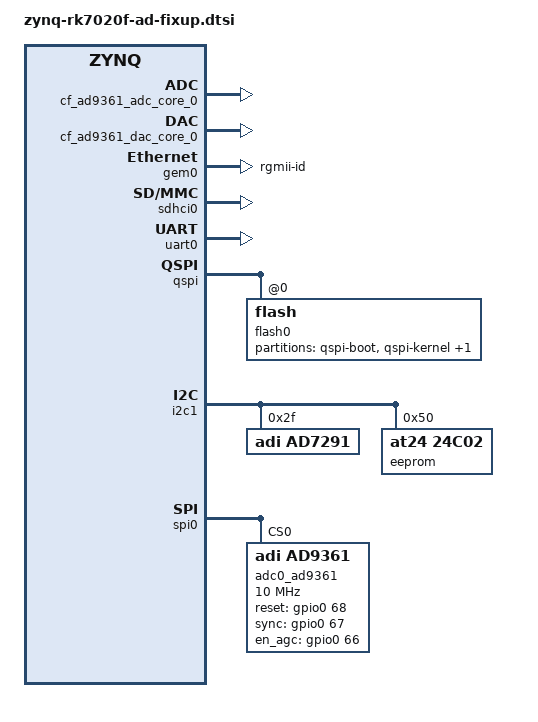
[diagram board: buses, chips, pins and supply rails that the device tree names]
/*
 * RK-ZYNQ7020-F carrier board + AD-FMCOMMS2/3 (AD9361) HDL project
 * hdl_project: <fmcomms2/rk_zynq7020f>
 *
 * Board-specific PS pinmux/EMIO overrides and the full AD9361/FMCOMMS2 PL
 * fabric + RF/AGC tuning. Kept as a hand-written fixup rather than derived
 * from the .xsa via zynq-dtgen: Xilinx's device-tree-xlnx generator only
 * emits placeholder nodes for custom IP (e.g. "xlnx,axi-ad9361-1.0") - the
 * actual adi,axi-ad9361-6.00.a bindings, DMA wiring, GPIO/EMIO routing and
 * the RF/AGC tuning parameters below have no representation in the
 * hardware export at all.
 *
 * Included by the zynq-dtgen-generated root dts
 * (BR2_PACKAGE_HOST_ZYNQ_DTGEN_FALLBACK_DIR/<name>-fixup.dtsi convention);
 * also mirrored verbatim inside the monolithic zynq-rk7020f-ad.dts, which
 * stays in place as the fallback used when xsct is unavailable.
 */
#include <dt-bindings/interrupt-controller/irq.h>
#include <dt-bindings/gpio/gpio.h>

/ {
	aliases {
		ethernet0 = &gem0;
		serial0 = &uart0;
	};

	clocks {
		ad9361_clkin: clock@0 {
			compatible = "fixed-clock";
			clock-frequency = <40000000>;
			clock-output-names = "ad9361_ext_refclk";
			#clock-cells = <0>;
		};
	};

	fpga_axi: fpga-axi@0 {
		compatible = "simple-bus";
		#address-cells = <1>;
		#size-cells = <1>;
		ranges;

		rx_dma: dma-controller@7c400000 {
			compatible = "adi,axi-dmac-1.00.a";
			reg = <0x7c400000 0x1000>;
			#dma-cells = <1>;
			interrupt-parent = <&intc>;
			interrupts = <0 57 IRQ_TYPE_LEVEL_HIGH>;
			clocks = <&clkc 15>;
		};

		tx_dma: dma-controller@7c420000 {
			compatible = "adi,axi-dmac-1.00.a";
			reg = <0x7c420000 0x1000>;
			#dma-cells = <1>;
			interrupt-parent = <&intc>;
			interrupts = <0 56 IRQ_TYPE_LEVEL_HIGH>;
			clocks = <&clkc 15>;
		};

		cf_ad9361_adc_core_0: cf-ad9361-lpc@79020000 {
			compatible = "adi,axi-ad9361-6.00.a";
			reg = <0x79020000 0x6000>;
			dmas = <&rx_dma 0>;
			dma-names = "rx";

			spibus-connected = <&adc0_ad9361>;
		};

		cf_ad9361_dac_core_0: cf-ad9361-dds-core-lpc@79024000 {
			compatible = "adi,axi-ad9361-dds-6.00.a";
			reg = <0x79024000 0x1000>;
			clocks = <&adc0_ad9361 13>;
			clock-names = "sampl_clk";
			dmas = <&tx_dma 0>;
			dma-names = "tx";
		};

		axi_sysid_0: sysid@45000000 {
			compatible = "adi,axi-sysid-1.00.a";
			reg = <0x45000000 0x10000>;
		};
	};
};

&gem0 {
	phy-mode = "rgmii-id";
	status = "okay";
	xlnx,ptp-enet-clock = <0x69f6bcb>;
};
&intc {
	num_cpus = <2>;
	num_interrupts = <96>;
};
&sdhci0 {
	bootph-all;
	status = "okay";
	xlnx,has-cd = <0x1>;
	xlnx,has-power = <0x0>;
	xlnx,has-wp = <0x0>;
};
&uart0 {
	bootph-all;
	cts-override ;
	device_type = "serial";
	port-number = <0>;
	status = "okay";
};
&clkc {
	/* FCLK0 (100MHz): AXI-Lite bus clock for axi_ad9361/dmac/sysid.
	 * FCLK1 (200MHz): IDELAYCTRL reference clock inside axi_ad9361. */
	fclk-enable = <0x3>;
	ps-clk-frequency = <33333333>;
};

&qspi {
	#address-cells = <1>;
	#size-cells = <0>;
	flash0: flash@0 {
		partition@0 {
			label = "qspi-boot";
			reg = <0x00000000 0x00500000>;
		};
		partition@1 {
			label = "qspi-kernel";
			reg = <0x00500000 0x00a80000>;
		};
		partition@2 {
			label = "qspi-bootenv";
			reg = <0x00f80000 0x00020000>;
		};
	};
};

/* AD9361 status/EEPROM I2C, routed via PS I2C1 through EMIO (iic_scl/iic_sda) */
&i2c1 {
	status = "okay";

	ad7291@2f {
		compatible = "adi,ad7291";
		reg = <0x2f>;
	};

	eeprom@50 {
		compatible = "at24,24c02";
		reg = <0x50>;
	};
};

/* AD9361 SPI, routed via PS SPI0 through EMIO (spi_clk/spi_csn/spi_mosi/spi_miso) */
&spi0 {
	status = "okay";
	is-decoded-cs = <0>;
	num-cs = <1>;

	adc0_ad9361: ad9361-phy@0 {
		compatible = "adi,ad9361";
		reg = <0>;

		spi-cpha;
		spi-max-frequency = <10000000>;

		clocks = <&ad9361_clkin 0>;
		clock-names = "ad9361_ext_refclk";
		clock-output-names = "rx_sampl_clk", "tx_sampl_clk";
		#clock-cells = <1>;

		/* gpio0 EMIO offset = 54 (MIO count); bits [14:12] are
		 * resetb/sync/en_agc, per system_top.v ad_iobuf ordering.
		 * enable/txnrx are driven directly by the axi_ad9361 core
		 * (system_top "enable"/"txnrx" ports), not through gpio0.
		 *
		 * reset-gpios MUST be GPIO_ACTIVE_HIGH despite the "RESETB"
		 * name: ad9361_reset() in the driver does set_value(0) then
		 * set_value(1) expecting that to map straight to physical
		 * low-then-high with no gpiolib inversion. ACTIVE_LOW here
		 * leaves the chip held in hardware reset after probe (SPI
		 * reads come back as 0xFF - confirmed on hardware). */
		reset-gpios = <&gpio0 68 GPIO_ACTIVE_HIGH>;
		sync-gpios = <&gpio0 67 GPIO_ACTIVE_HIGH>;
		en_agc-gpios = <&gpio0 66 GPIO_ACTIVE_HIGH>;

		adi,digital-interface-tune-skip-mode = <0>;
		adi,pp-tx-swap-enable;
		adi,pp-rx-swap-enable;
		adi,rx-frame-pulse-mode-enable;
		adi,lvds-mode-enable;
		adi,lvds-bias-mV = <150>;
		adi,lvds-rx-onchip-termination-enable;
		adi,rx-data-delay = <4>;
		adi,tx-fb-clock-delay = <7>;
		adi,dcxo-coarse-and-fine-tune = <8 5920>;

		adi,2rx-2tx-mode-enable;
		adi,frequency-division-duplex-mode-enable;

		adi,rx-rf-port-input-select = <0>;
		adi,tx-rf-port-input-select = <0>;
		adi,tx-attenuation-mdB = <10000>;
		adi,tx-lo-powerdown-managed-enable;

		adi,rf-rx-bandwidth-hz = <18000000>;
		adi,rf-tx-bandwidth-hz = <18000000>;
		adi,rx-synthesizer-frequency-hz = /bits/ 64 <2400000000>;
		adi,tx-synthesizer-frequency-hz = /bits/ 64 <2450000000>;

		/*                              BBPLL     ADC        R2CLK     R1CLK    CLKRF    RSAMPL */
		adi,rx-path-clock-frequencies = <983040000 245760000 122880000 61440000 30720000 30720000>;
		/*                              BBPLL     DAC        T2CLK     T1CLK    CLKTF    TSAMPL */
		adi,tx-path-clock-frequencies = <983040000 122880000 122880000 61440000 30720000 30720000>;

		adi,gc-rx1-mode = <2>;
		adi,gc-rx2-mode = <2>;
		adi,gc-adc-ovr-sample-size = <4>;
		adi,gc-adc-small-overload-thresh = <47>;
		adi,gc-adc-large-overload-thresh = <58>;
		adi,gc-lmt-overload-high-thresh = <800>;
		adi,gc-lmt-overload-low-thresh = <704>;
		adi,gc-dec-pow-measurement-duration = <8192>;
		adi,gc-low-power-thresh = <24>;

		adi,mgc-inc-gain-step = <2>;
		adi,mgc-dec-gain-step = <2>;
		adi,mgc-split-table-ctrl-inp-gain-mode = <0>;

		adi,agc-attack-delay-extra-margin-us = <1>;
		adi,agc-outer-thresh-high = <5>;
		adi,agc-outer-thresh-high-dec-steps = <2>;
		adi,agc-inner-thresh-high = <10>;
		adi,agc-inner-thresh-high-dec-steps = <1>;
		adi,agc-inner-thresh-low = <12>;
		adi,agc-inner-thresh-low-inc-steps = <1>;
		adi,agc-outer-thresh-low = <18>;
		adi,agc-outer-thresh-low-inc-steps = <2>;
		adi,agc-adc-small-overload-exceed-counter = <10>;
		adi,agc-adc-large-overload-exceed-counter = <10>;
		adi,agc-adc-large-overload-inc-steps = <2>;
		adi,agc-lmt-overload-large-exceed-counter = <10>;
		adi,agc-lmt-overload-small-exceed-counter = <10>;
		adi,agc-lmt-overload-large-inc-steps = <2>;
		adi,agc-gain-update-interval-us = <1000>;

		adi,fagc-dec-pow-measurement-duration = <64>;
		adi,fagc-lp-thresh-increment-steps = <1>;
		adi,fagc-lp-thresh-increment-time = <5>;
		adi,fagc-energy-lost-stronger-sig-gain-lock-exit-cnt = <8>;
		adi,fagc-final-overrange-count = <3>;
		adi,fagc-gain-index-type-after-exit-rx-mode = <0>;
		adi,fagc-lmt-final-settling-steps = <1>;
		adi,fagc-lock-level = <10>;
		adi,fagc-lock-level-gain-increase-upper-limit = <5>;
		adi,fagc-lock-level-lmt-gain-increase-enable;
		adi,fagc-lpf-final-settling-steps = <1>;
		adi,fagc-optimized-gain-offset = <5>;
		adi,fagc-power-measurement-duration-in-state5 = <64>;
		adi,fagc-rst-gla-engergy-lost-goto-optim-gain-enable;
		adi,fagc-rst-gla-engergy-lost-sig-thresh-below-ll = <10>;
		adi,fagc-rst-gla-engergy-lost-sig-thresh-exceeded-enable;
		adi,fagc-rst-gla-if-en-agc-pulled-high-mode = <0>;
		adi,fagc-rst-gla-large-adc-overload-enable;
		adi,fagc-rst-gla-large-lmt-overload-enable;
		adi,fagc-rst-gla-stronger-sig-thresh-above-ll = <10>;
		adi,fagc-rst-gla-stronger-sig-thresh-exceeded-enable;
		adi,fagc-state-wait-time-ns = <260>;
		adi,fagc-use-last-lock-level-for-set-gain-enable;

		adi,rssi-restart-mode = <3>;
		adi,rssi-delay = <1>;
		adi,rssi-wait = <1>;
		adi,rssi-duration = <1000>;

		adi,ctrl-outs-index = <0>;
		adi,ctrl-outs-enable-mask = <0xFF>;

		adi,temp-sense-measurement-interval-ms = <1000>;
		adi,temp-sense-offset-signed = <0xCE>;
		adi,temp-sense-periodic-measurement-enable;

		adi,aux-dac-manual-mode-enable;
		adi,aux-dac1-default-value-mV = <0>;
		adi,aux-dac1-rx-delay-us = <0>;
		adi,aux-dac1-tx-delay-us = <0>;
		adi,aux-dac2-default-value-mV = <0>;
		adi,aux-dac2-rx-delay-us = <0>;
		adi,aux-dac2-tx-delay-us = <0>;
	};
};
